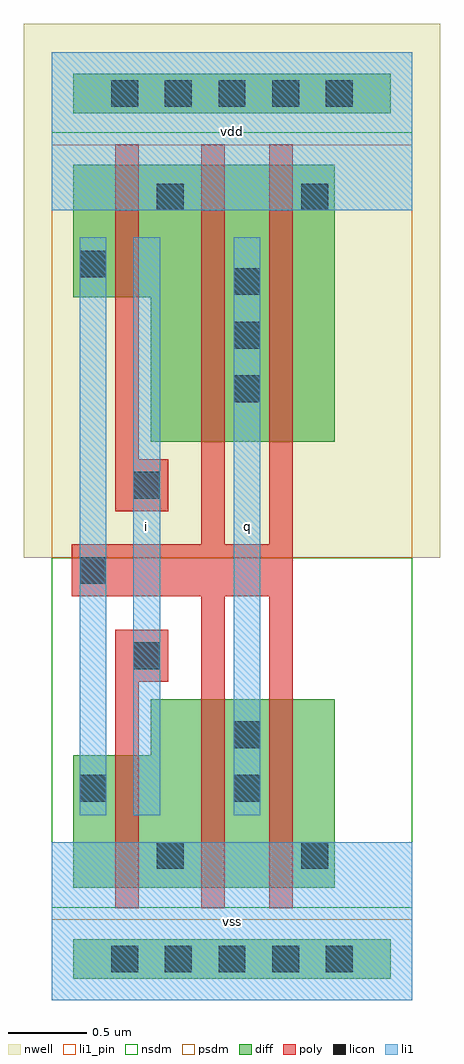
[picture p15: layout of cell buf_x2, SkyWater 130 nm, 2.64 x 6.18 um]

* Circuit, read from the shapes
.subckt buf_x2 i q vdd vss
XM1 vss i n1 VSUBS sky130_fd_pr__nfet_01v8 w=0.84 l=0.15
XM2 q n1 vss VSUBS sky130_fd_pr__nfet_01v8 w=1.195 l=0.15 m=2
XM3 vdd i n1 n2 sky130_fd_pr__pfet_01v8 w=0.84 l=0.15
XM4 q n1 vdd n2 sky130_fd_pr__pfet_01v8 w=1.755 l=0.15 m=2
.ends

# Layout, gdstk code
import gdstk
lib = gdstk.Library(unit=1e-6, precision=1e-09)
def R(c, l, rs):  # rectangles x0, y0, x1, y1
    for r in rs: c.add(gdstk.rectangle(r[:2], r[2:], *l))
def A(c, l, x, y, w, h, nx, ny, dx, dy):  # array of equal rectangles
    R(c, l, [(x+i*dx, y+j*dy, x+i*dx+w, y+j*dy+h) for i in range(nx) for j in range(ny)])
def P(c, l, *ps):  # polygons
    for p in ps: c.add(gdstk.Polygon(p, *l))
nwell = (64, 20)
diff = (65, 20)
poly = (66, 20)
licon = (66, 44)
li1_pin = (67, 16)
li1 = (67, 20)
nsdm = (93, 44)
psdm = (94, 20)

buf_x2 = lib.new_cell('buf_x2')
R(buf_x2, nwell, [(-0.18,2.8,2.46,6.18)])
R(buf_x2, diff, [(0.135,0.135,2.145,0.385), (0.135,5.615,2.145,5.865)])
P(buf_x2, diff, [(0.625,3.535),(0.625,4.45),(0.135,4.45),(0.135,5.29),(1.79,5.29),(1.79,3.535)],
  [(0.135,0.71),(0.135,1.55),(0.625,1.55),(0.625,1.905),(1.79,1.905),(1.79,0.71)])
P(buf_x2, poly, [(0.945,0.58),(0.945,2.555),(0.125,2.555),(0.125,2.885),(0.945,2.885),(0.945,5.42),(1.095,5.42),(1.095,2.885),(1.375,2.885),(1.375,5.42),(1.525,5.42),(1.525,0.58),(1.375,0.58),(1.375,2.555),(1.095,2.555),(1.095,0.58)],
  [(0.4,0.58),(0.4,2.345),(0.735,2.345),(0.735,2.015),(0.55,2.015),(0.55,0.58)],
  [(0.4,3.095),(0.4,5.42),(0.55,5.42),(0.55,3.425),(0.735,3.425),(0.735,3.095)])
A(buf_x2, licon, 0.375, 0.175, 0.17, 0.17, 5, 2, 0.34, 5.48)
A(buf_x2, licon, 1.15, 3.785, 0.17, 0.17, 1, 3, 0, 0.34)
R(buf_x2, licon, [(0.665,0.83,0.835,1), (1.58,0.83,1.75,1), (0.175,1.255,0.345,1.425), (1.15,1.255,1.32,1.425), (1.15,1.595,1.32,1.765), (0.515,2.095,0.685,2.265), (0.175,2.635,0.345,2.805), (0.515,3.175,0.685,3.345), (0.175,4.575,0.345,4.745), (0.665,5,0.835,5.17), (1.58,5,1.75,5.17)])
R(buf_x2, li1_pin, [(0,0,2.28,1), (0.515,1.17,0.685,4.83), (1.15,1.17,1.32,4.83), (0,5,2.28,6)])
R(buf_x2, li1, [(0,0,2.28,1), (0.175,1.17,0.345,4.83), (0.515,1.17,0.685,4.83), (1.15,1.17,1.32,4.83), (0,5,2.28,6)])
R(buf_x2, nsdm, [(0,0.585,2.28,2.8), (0,5.49,2.28,6)])
R(buf_x2, psdm, [(0,0,2.28,0.51), (0,2.8,2.28,5.415)])
buf_x2.add(gdstk.Label('vdd', (1.14,5.5), layer=67, texttype=16))
buf_x2.add(gdstk.Label('vss', (1.14,0.5), layer=67, texttype=16))
buf_x2.add(gdstk.Label('i', (0.6,3), layer=67, texttype=16))
buf_x2.add(gdstk.Label('q', (1.235,3), layer=67, texttype=16))

lib.write_gds('buf_x2.gds')
